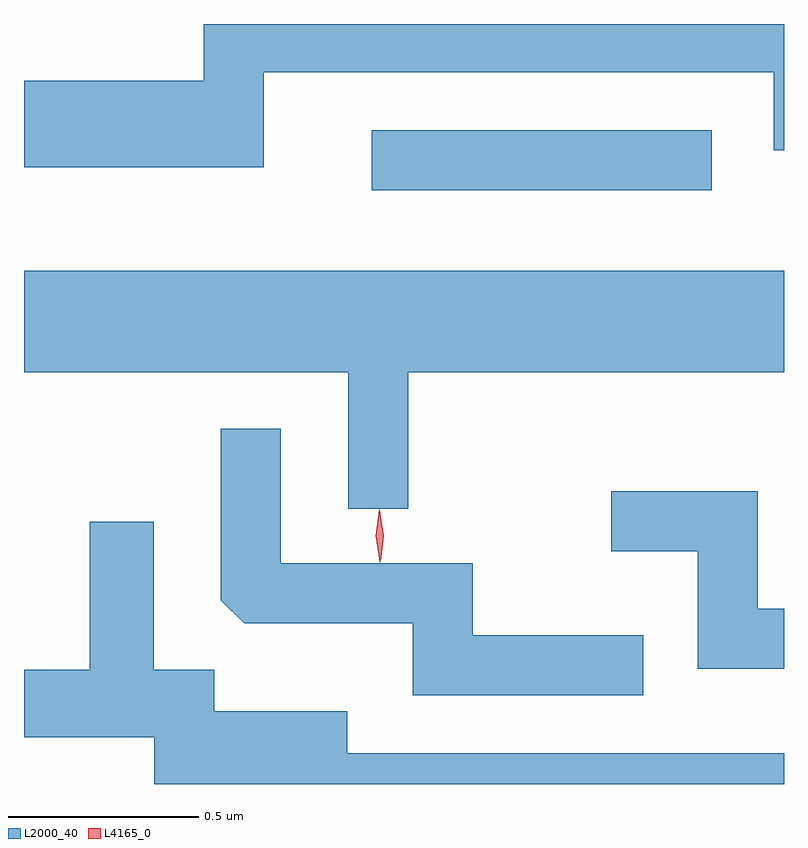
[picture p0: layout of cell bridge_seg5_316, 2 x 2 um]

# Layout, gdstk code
import gdstk
lib = gdstk.Library(unit=1e-6, precision=1e-09)
def R(c, l, rs):  # rectangles x0, y0, x1, y1
    for r in rs: c.add(gdstk.rectangle(r[:2], r[2:], *l))
def P(c, l, *ps):  # polygons
    for p in ps: c.add(gdstk.Polygon(p, *l))
L2000_40 = (2000, 40)
L4165_0 = (4165, 0)

bridge_seg5_316 = lib.new_cell('bridge_seg5_316')
R(bridge_seg5_316, L2000_40, [(745.073,1508.336,745.968,1508.494)])
P(bridge_seg5_316, L2000_40, [(744.789,1508.646),(746.131,1508.646),(746.131,1508.441),(746.158,1508.441),(746.158,1508.773),(744.631,1508.773),(744.631,1508.624),(744.158,1508.624),(744.158,1508.396),(744.789,1508.396)],
  [(745.169,1507.856),(746.158,1507.856),(746.158,1508.124),(744.158,1508.124),(744.158,1507.856),(745.011,1507.856),(745.011,1507.498),(745.169,1507.498)],
  [(745.788,1507.164),(745.339,1507.164),(745.339,1507.354),(744.834,1507.354),(744.834,1507.708),(744.676,1507.708),(744.676,1507.257),(744.737,1507.196),(745.181,1507.196),(745.181,1507.006),(745.788,1507.006)],
  [(746.158,1507.234),(746.089,1507.234),(746.089,1507.544),(745.703,1507.544),(745.703,1507.386),(745.931,1507.386),(745.931,1507.076),(746.158,1507.076)],
  [(746.158,1506.854),(745.009,1506.854),(745.009,1506.964),(744.659,1506.964),(744.659,1507.074),(744.499,1507.074),(744.499,1507.463),(744.331,1507.463),(744.331,1507.074),(744.158,1507.074),(744.158,1506.896),(744.501,1506.896),(744.501,1506.773),(746.158,1506.773)])
P(bridge_seg5_316, L4165_0, [(745.096,1507.359),(745.096,1507.36),(745.085,1507.426),(745.093,1507.492),(745.094,1507.492),(745.094,1507.492),(745.105,1507.426),(745.097,1507.36)],
  [(745.094,1507.357),(745.094,1507.358),(745.084,1507.426),(745.093,1507.495),(745.094,1507.495),(745.094,1507.495),(745.104,1507.426),(745.095,1507.358)])

lib.write_gds('bridge_seg5_316.gds')
